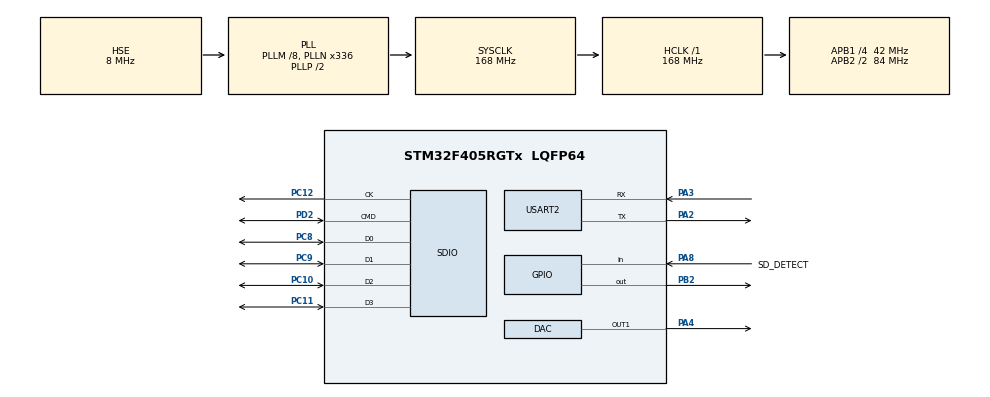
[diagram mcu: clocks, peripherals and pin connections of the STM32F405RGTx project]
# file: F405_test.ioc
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DAC.DAC_Trigger=DAC_TRIGGER_T6_TRGO
Dma.DAC1.0.Direction=DMA_MEMORY_TO_PERIPH
Dma.DAC1.0.FIFOMode=DMA_FIFOMODE_DISABLE
Dma.DAC1.0.Instance=DMA1_Stream5
Dma.DAC1.0.MemDataAlignment=DMA_MDATAALIGN_HALFWORD
Dma.DAC1.0.MemInc=DMA_MINC_ENABLE
Dma.DAC1.0.Mode=DMA_CIRCULAR
Dma.DAC1.0.PeriphDataAlignment=DMA_PDATAALIGN_HALFWORD
Dma.DAC1.0.PeriphInc=DMA_PINC_DISABLE
Dma.DAC1.0.Priority=DMA_PRIORITY_LOW
Dma.Request0=DAC1
FATFS.BSP.number=1
FATFS0.BSP.STBoard=false
FATFS0.BSP.api=Unknown
FATFS0.BSP.instance=PA8
FATFS0.BSP.ip=GPIO
FATFS0.BSP.mode=Input
FATFS0.BSP.name=Detect_SDIO
FATFS0.BSP.solution=PA8
Mcu.Family=STM32F4
Mcu.Name=STM32F405RGTx
Mcu.Package=LQFP64
NVIC.DMA1_Stream5_IRQn=true\:0\:0\:false\:false\:true\:false\:true\:true
NVIC.PriorityGroup=NVIC_PRIORITYGROUP_4
PA13.Mode=Serial_Wire
PA13.Signal=SYS_JTMS-SWDIO
PA14.Mode=Serial_Wire
PA14.Signal=SYS_JTCK-SWCLK
PA2.Mode=Asynchronous
PA2.Signal=USART2_TX
PA3.Mode=Asynchronous
PA3.Signal=USART2_RX
PA4.Signal=COMP_DAC1_group
PA8.GPIO_Label=SD_DETECT
PA8.GPIO_PuPd=GPIO_PULLUP
PA8.Signal=GPIO_Input
PB2.Signal=GPIO_Output
PC10.GPIO_PuPd=GPIO_PULLUP
PC10.Mode=SD_4_bits_Wide_bus
PC10.Signal=SDIO_D2
PC11.GPIO_PuPd=GPIO_PULLUP
PC11.Mode=SD_4_bits_Wide_bus
PC11.Signal=SDIO_D3
PC12.Mode=SD_4_bits_Wide_bus
PC12.Signal=SDIO_CK
PC8.GPIO_PuPd=GPIO_PULLUP
PC8.Mode=SD_4_bits_Wide_bus
PC8.Signal=SDIO_D0
PC9.GPIO_PuPd=GPIO_PULLUP
PC9.Mode=SD_4_bits_Wide_bus
PC9.Signal=SDIO_D1
PD2.GPIO_PuPd=GPIO_PULLUP
PD2.Mode=SD_4_bits_Wide_bus
PD2.Signal=SDIO_CMD
PH0-OSC_IN.Mode=HSE-External-Oscillator
PH0-OSC_IN.Signal=RCC_OSC_IN
PH1-OSC_OUT.Mode=HSE-External-Oscillator
PH1-OSC_OUT.Signal=RCC_OSC_OUT
ProjectManager.HeapSize=0x200
ProjectManager.StackSize=0x400
ProjectManager.TargetToolchain=STM32CubeIDE
RCC.48MHZClocksFreq_Value=48000000
RCC.AHBFreq_Value=168000000
RCC.APB1CLKDivider=RCC_HCLK_DIV4
RCC.APB1Freq_Value=42000000
RCC.APB1TimFreq_Value=84000000
RCC.APB2CLKDivider=RCC_HCLK_DIV2
RCC.APB2Freq_Value=84000000
RCC.APB2TimFreq_Value=168000000
RCC.CortexFreq_Value=168000000
RCC.HCLKFreq_Value=168000000
RCC.HSE_VALUE=8000000
RCC.HSI_VALUE=16000000
RCC.LSE_VALUE=32768
RCC.PLLM=8
RCC.PLLN=336
RCC.PLLQ=7
RCC.PLLSourceVirtual=RCC_PLLSOURCE_HSE
RCC.SYSCLKFreq_VALUE=168000000
RCC.SYSCLKSource=RCC_SYSCLKSOURCE_PLLCLK
RCC.VCOOutputFreq_Value=336000000
SDIO.ClockBypass=SDIO_CLOCK_BYPASS_DISABLE
SDIO.ClockDiv=4
SH.COMP_DAC1_group.0=DAC_OUT1,DAC_OUT1
TIM6.Period=1749
TIM6.TIM_MasterOutputTrigger=TIM_TRGO_UPDATE
USART2.VirtualMode=VM_ASYNC
VP_FATFS_VS_SDIO.Mode=SDIO
VP_TIM6_VS_ClockSourceINT.Mode=Enable_Timer
board=custom

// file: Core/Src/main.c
/* USER CODE BEGIN Header */
/**
  ******************************************************************************
  * @file           : main.c
  * @brief          : Main program body
  ******************************************************************************
  * @attention
  *
  * Copyright (c) 2026 STMicroelectronics.
  * All rights reserved.
  *
  * This software is licensed under terms that can be found in the LICENSE file
  * in the root directory of this software component.
  * If no LICENSE file comes with this software, it is provided AS-IS.
  *
  ******************************************************************************
  */
/* USER CODE END Header */
#include "main.h"
#include "fatfs.h"

/* USER CODE BEGIN Includes */

#include <math.h>
#include <stdio.h>

/* USER CODE END Includes */

DAC_HandleTypeDef hdac;
DMA_HandleTypeDef hdma_dac1;
SD_HandleTypeDef hsd;
TIM_HandleTypeDef htim6;
UART_HandleTypeDef huart2;
/* USER CODE BEGIN PV */

static uint16_t dac_samples[48];
volatile FRESULT sd_mount_result = FR_NOT_READY;
volatile uint8_t sd_mount_done = 0;

#define AUDIO_BUFFER_SAMPLES 1024
#define AUDIO_HALF_SAMPLES   (AUDIO_BUFFER_SAMPLES / 2)

static uint16_t audio_buffer[AUDIO_BUFFER_SAMPLES];
static FIL wav_file;
static volatile uint8_t audio_half_ready = 0;
static volatile uint8_t audio_running = 0;
static uint32_t wav_data_bytes_left = 0;

/* Odtwarzanie nagrania przechowywanego w RAM i CCM. */
static uint32_t audio_total_samples = 0;
static uint32_t audio_next_sample = 0;
static uint32_t audio_halves_left = 0;

/* Przechowywanie calego nagrania przed odtwarzaniem. */
#define WAV_RAM_SAMPLES  (48U * 1024U)
#define WAV_CCM_SAMPLES  (24U * 1024U)

static uint16_t wav_ram[WAV_RAM_SAMPLES];

static uint16_t wav_ccm[WAV_CCM_SAMPLES]
    __attribute__((section(".ccmram"), aligned(4)));

/* USER CODE END PV */

void SystemClock_Config(void);
static void MX_GPIO_Init(void);
static void MX_DMA_Init(void);
static void MX_DAC_Init(void);
static void MX_TIM6_Init(void);
static void MX_SDIO_SD_Init(void);
static void MX_USART2_UART_Init(void);

/* USER CODE BEGIN 0 */

int __io_putchar(int ch)
{
  uint8_t byte = (uint8_t)ch;
  if (HAL_UART_Transmit(&huart2, &byte, 1, 100) != HAL_OK)
  {
    return -1;
  }
  return ch;
}

static FRESULT audio_open_wav(const char *path)
{
    FRESULT res;
    UINT br;
    uint8_t header[44];

    res = f_open(&wav_file, path, FA_READ);
    if (res != FR_OK)
    {
        return res;
    }

    res = f_read(&wav_file, header, sizeof(header), &br);
    if (res != FR_OK || br != sizeof(header))
    {
        f_close(&wav_file);
        return FR_INVALID_OBJECT;
    }

    if (header[0] != 'R' || header[1] != 'I' ||
        header[2] != 'F' || header[3] != 'F' ||
        header[8] != 'W' || header[9] != 'A' ||
        header[10] != 'V' || header[11] != 'E')
    {
        f_close(&wav_file);
        return FR_INVALID_OBJECT;
    }

    uint16_t channels = (uint16_t)(header[22] | (header[23] << 8));
    uint32_t sample_rate = (uint32_t)header[24] |
                           ((uint32_t)header[25] << 8) |
                           ((uint32_t)header[26] << 16) |
                           ((uint32_t)header[27] << 24);
    uint16_t bits = (uint16_t)(header[34] | (header[35] << 8));

    printf("WAV: ch=%u rate=%lu bits=%u\r\n",
           (unsigned int)channels,
           (unsigned long)sample_rate,
           (unsigned int)bits);
    fflush(stdout);

    if (channels != 1 || bits != 16 || sample_rate != 44100)
    {
        f_close(&wav_file);
        return FR_INVALID_PARAMETER;
    }

    wav_data_bytes_left = (uint32_t)header[40] |
                          ((uint32_t)header[41] << 8) |
                          ((uint32_t)header[42] << 16) |
                          ((uint32_t)header[43] << 24);

    return FR_OK;
}

static FRESULT audio_load_to_ram(const char *path,
                                 uint32_t *samples_loaded)
{
    FRESULT res;
    uint32_t bytes_left;
    uint32_t sample_index = 0;

    *samples_loaded = 0;

    res = audio_open_wav(path);
    if (res != FR_OK)
    {
        return res;
    }

    bytes_left = wav_data_bytes_left;

    if ((bytes_left == 0U) ||
        ((bytes_left & 1U) != 0U) ||
        ((bytes_left / 2U) >
         (WAV_RAM_SAMPLES + WAV_CCM_SAMPLES)))
    {
        f_close(&wav_file);
        return FR_INVALID_PARAMETER;
    }

    while (bytes_left > 0U)
    {
        UINT br = 0;
        UINT bytes_to_read = (UINT)sizeof(audio_buffer);

        if (bytes_left < bytes_to_read)
        {
            bytes_to_read = (UINT)bytes_left;
        }

        res = f_read(&wav_file, audio_buffer,
                     bytes_to_read, &br);

        if ((res != FR_OK) || (br != bytes_to_read))
        {
            f_close(&wav_file);
            return (res != FR_OK) ? res : FR_INVALID_OBJECT;
        }

        for (uint32_t i = 0; i < br / 2U; i++)
        {
            int32_t pcm = (int16_t)audio_buffer[i];
            uint16_t dac = (uint16_t)((pcm + 32768) >> 4);

            if (sample_index < WAV_RAM_SAMPLES)
            {
                wav_ram[sample_index] = dac;
            }
            else
            {
                wav_ccm[sample_index - WAV_RAM_SAMPLES] = dac;
            }

            sample_index++;
        }

        bytes_left -= br;
    }

    res = f_close(&wav_file);
    if (res != FR_OK)
    {
        return res;
    }

    *samples_loaded = sample_index;
    return FR_OK;
}

static uint32_t audio_fill_from_ram(uint16_t *target,
                                    uint32_t first_sample,
                                    uint32_t total_samples,
                                    uint32_t target_samples)
{
    uint32_t copied = 0;

    while ((copied < target_samples) &&
           (first_sample < total_samples))
    {
        if (first_sample < WAV_RAM_SAMPLES)
        {
            target[copied] = wav_ram[first_sample];
        }
        else
        {
            target[copied] =
                wav_ccm[first_sample - WAV_RAM_SAMPLES];
        }

        first_sample++;
        copied++;
    }

    /* Niepelna koncowka bufora: dopelnienie cisza. */
    for (uint32_t i = copied; i < target_samples; i++)
    {
        target[i] = 2048U;
    }

    return copied;
}

static FRESULT audio_start(const char *path)
{
    FRESULT res;

    audio_running = 0;
    audio_half_ready = 0;
    audio_total_samples = 0;
    audio_next_sample = 0;
    audio_halves_left = 0;

    res = audio_load_to_ram(path, &audio_total_samples);
    if (res != FR_OK)
    {
        return res;
    }

    printf("WAV RAM: %lu samples, %lu bytes\r\n",
           (unsigned long)audio_total_samples,
           (unsigned long)(audio_total_samples * 2U));
    fflush(stdout);

    /* Przygotowanie calego bufora przed startem DMA. */
    audio_next_sample = audio_fill_from_ram(
        audio_buffer,
        0U,
        audio_total_samples,
        AUDIO_BUFFER_SAMPLES);

    /* Liczba polowek zawierajacych probki nagrania.
       Ostatnia moze byc dopelniona cisza. */
    audio_halves_left =
        (audio_total_samples + AUDIO_HALF_SAMPLES - 1U) /
        AUDIO_HALF_SAMPLES;

    __HAL_TIM_SET_AUTORELOAD(&htim6, 1904U);
    __HAL_TIM_SET_COUNTER(&htim6, 0U);

    if (HAL_DAC_Start_DMA(&hdac,
                          DAC_CHANNEL_1,
                          (uint32_t *)audio_buffer,
                          AUDIO_BUFFER_SAMPLES,
                          DAC_ALIGN_12B_R) != HAL_OK)
    {
        printf("Blad startu DAC DMA\r\n");
        return FR_INT_ERR;
    }

    audio_running = 1;

    if (HAL_TIM_Base_Start(&htim6) != HAL_OK)
    {
        audio_running = 0;
        HAL_DAC_Stop_DMA(&hdac, DAC_CHANNEL_1);
        printf("Blad startu TIM6\r\n");
        return FR_INT_ERR;
    }

    return FR_OK;
}

//static FRESULT audio_start(const char *path)
//{
//    uint32_t samples_loaded = 0;
//    FRESULT res;
//
//    res = audio_load_to_ram(path, &samples_loaded);
//    if (res != FR_OK)
//    {
//        return res;
//    }
//
//    printf("WAV RAM: %lu samples, %lu bytes\r\n",
//           (unsigned long)samples_loaded,
//           (unsigned long)(samples_loaded * 2U));
//    fflush(stdout);
//
//    /* Nadal test ciszy. Wystrzal przywrocimy osobno. */
//    for (uint32_t i = 0; i < AUDIO_BUFFER_SAMPLES; i++)
//    {
//        audio_buffer[i] = 2048U;
//    }
//
//    /* Licznik czasu obecnego testu bez odczytow SD. */
//    wav_data_bytes_left = samples_loaded * 2U;
//    audio_half_ready = 0;
//    audio_running = 0;
//
//    /* Ustawienie TIM6 przed uruchomieniem audio. */
//    __HAL_TIM_SET_AUTORELOAD(&htim6, 1904U);
//    __HAL_TIM_SET_COUNTER(&htim6, 0U);
//
//    if (HAL_DAC_Start_DMA(&hdac,
//                          DAC_CHANNEL_1,
//                          (uint32_t *)audio_buffer,
//                          AUDIO_BUFFER_SAMPLES,
//                          DAC_ALIGN_12B_R) != HAL_OK)
//    {
//        printf("Blad startu DAC DMA\r\n");
//        return FR_INT_ERR;
//    }
//
//    audio_running = 1;
//
//    if (HAL_TIM_Base_Start(&htim6) != HAL_OK)
//    {
//        audio_running = 0;
//        HAL_DAC_Stop_DMA(&hdac, DAC_CHANNEL_1);
//        printf("Blad startu TIM6\r\n");
//        return FR_INT_ERR;
//    }
//
//    return FR_OK;
//}

//static FRESULT audio_start(const char *path)
//{
//    FRESULT res;
//    UINT br;
//
//    res = audio_open_wav(path);
//    if (res != FR_OK)
//    {
//        return res;
//    }
//
//    res = f_read(&wav_file, audio_buffer,
//                 sizeof(audio_buffer), &br);
//    if (res != FR_OK || br != sizeof(audio_buffer))
////    res = f_read(&wav_file, audio_buffer,
////                 AUDIO_HALF_SAMPLES * 2, &br);
////    if (res != FR_OK || br != AUDIO_HALF_SAMPLES * 2)
//    {
//        f_close(&wav_file);
//        return FR_INVALID_OBJECT;
//    }
//
//    for (uint32_t i = 0; i < br / 2U; i++)
//    {
////        int32_t sample = (int16_t)audio_buffer[i];
////        audio_buffer[i] = (uint16_t)((sample + 32768) >> 4);
//    	  audio_buffer[i] = 2048U;  // TEST: cisza zamiast nagrania
//    }
//
//    wav_data_bytes_left -= br;
//
//
//
//
//    if (HAL_DAC_Start_DMA(&hdac,
//                          DAC_CHANNEL_1,
//                          (uint32_t *)audio_buffer,
//                          AUDIO_BUFFER_SAMPLES,
//                          DAC_ALIGN_12B_R) != HAL_OK)
//    {
//        f_close(&wav_file);
//        return FR_INVALID_NAME;   /* DAC Start_DMA failed */
//    }
//
//    if (HAL_TIM_Base_Start(&htim6) != HAL_OK)
//    {
//        HAL_DAC_Stop_DMA(&hdac, DAC_CHANNEL_1);
//        f_close(&wav_file);
//        return FR_INVALID_DRIVE;  /* TIM6 start failed */
//    }
//
//    audio_running = 1;
//    return FR_OK;
//}
/* USER CODE END 0 */

int main(void)
{

  /* MCU Configuration--------------------------------------------------------*/

  /* Reset of all peripherals, Initializes the Flash interface and the Systick. */
  HAL_Init();

  /* Configure the system clock */
  SystemClock_Config();

  /* Initialize all configured peripherals */
  MX_GPIO_Init();
  MX_DMA_Init();
  MX_DAC_Init();
  MX_TIM6_Init();
  MX_SDIO_SD_Init();
  MX_FATFS_Init();
  MX_USART2_UART_Init();
  /* USER CODE BEGIN 2 */

  printf("STM32F405 printf OK\r\n");
  fflush(stdout);

  printf("Przed f_mount\r\n");
  fflush(stdout);
  sd_mount_result = f_mount(&SDFatFS, SDPath, 1);
  sd_mount_done = 1;
  printf("SD mount: %d\r\n", (int)sd_mount_result);
  fflush(stdout);

  if (sd_mount_result == FR_OK)
  {
    FIL test_file;
    char text[128];
    UINT bytes_read = 0;
    FRESULT result;

    result = f_open(&test_file, "TEST.TXT", FA_READ);
    printf("TEST.TXT open: %d\r\n", (int)result);
    fflush(stdout);

    if (result == FR_OK)
    {
      result = f_read(&test_file, text, sizeof(text) - 1, &bytes_read);
      printf("TEST.TXT read: %d, bytes: %u\r\n",
             (int)result, (unsigned int)bytes_read);

      if (result == FR_OK)
      {
        text[bytes_read] = '\0';
        printf("Tresc: %s\r\n", text);
      }

      result = f_close(&test_file);
      printf("TEST.TXT close: %d\r\n", (int)result);
      fflush(stdout);
    }
  }

  FRESULT wav_result = audio_start("SHOT.WAV");
  htim6.Instance->ARR = 1904;
  printf("WAV start: %d\r\n", (int)wav_result);
  fflush(stdout);

  /* USER CODE END 2 */

  /* Infinite loop */
  while (1)
  {

    /* USER CODE BEGIN 3 */

	  if (audio_running)
	  {
	      uint8_t ready;

	      /* Pobranie i skasowanie flagi bez przerwania pomiedzy nimi. */
	      uint32_t primask = __get_PRIMASK();
	      __disable_irq();

	      ready = audio_half_ready;
	      audio_half_ready = 0;

	      __set_PRIMASK(primask);

	      if (ready != 0U)
	      {
	          /* Callback oznacza zakonczenie odtwarzania polowy. */
	          if (audio_halves_left > 0U)
	          {
	              audio_halves_left--;
	          }

	          if (audio_halves_left == 0U)
	          {
	              HAL_TIM_Base_Stop(&htim6);
	              HAL_DAC_Stop_DMA(&hdac, DAC_CHANNEL_1);
	              audio_running = 0;
	              audio_half_ready = 0;

	              printf("WAV done\r\n");
	              fflush(stdout);
	          }
	          else
	          {
	              uint16_t *target;

	              if (ready == 1U)
	              {
	                  target = &audio_buffer[0];
	              }
	              else
	              {
	                  target = &audio_buffer[AUDIO_HALF_SAMPLES];
	              }

	              uint32_t copied = audio_fill_from_ram(
	                  target,
	                  audio_next_sample,
	                  audio_total_samples,
	                  AUDIO_HALF_SAMPLES);

	              audio_next_sample += copied;
	          }
	      }
	  }

//	  if (audio_running)
//	  {
//	      if (audio_half_ready != 0)
//	      {
//	          uint16_t *target;
//	          uint32_t bytes_to_read;
//	          UINT br = 0;
//
//	          if (audio_half_ready == 1)
//	          {
//	              target = &audio_buffer[0];
//	          }
//	          else
//	          {
//	              target = &audio_buffer[AUDIO_HALF_SAMPLES];
//	          }
//
//	          audio_half_ready = 0;
//
//	          bytes_to_read = AUDIO_HALF_SAMPLES * 2;
//
//	          if (wav_data_bytes_left < bytes_to_read)
//	          {
//	              bytes_to_read = wav_data_bytes_left;
//	          }
//
//
//	          if (bytes_to_read > 0)
//	          {
//	              /* TEST: bez odczytu SD; zachowujemy odliczanie próbek. */
//	              br = (UINT)bytes_to_read;
//
//	              for (uint32_t i = 0; i < br / 2U; i++)
//	              {
//	                  target[i] = 2048U;
//	              }
//
//	              wav_data_bytes_left -= br;
//	          }
//
//
////	          if (bytes_to_read > 0)
////	          {
////
////	        	  if (f_read(&wav_file, target,
////	        	             bytes_to_read, &br) == FR_OK)
////	        	  {
////	        	      for (uint32_t i = 0; i < br / 2U; i++)
////	        	      {
//////	        	          int32_t sample = (int16_t)target[i];
//////	        	          target[i] = (uint16_t)((sample + 32768) >> 4);
////	        	    	  target[i] = 2048U;  // TEST: cisza zamiast nagrania
////	        	      }
////
////	        	      wav_data_bytes_left -= br;
////	        	  }
////
//////	              if (f_read(&wav_file, target,
//////	                         bytes_to_read, &br) == FR_OK)
//////	              {
//////	                  wav_data_bytes_left -= br;
//////	              }
////	          }
////
////
////	          //aż tutaj
//
//	          if (wav_data_bytes_left == 0)
//	          {
//	              HAL_TIM_Base_Stop(&htim6);
//	              HAL_DAC_Stop_DMA(&hdac, DAC_CHANNEL_1);
//	              f_close(&wav_file);
//	              audio_running = 0;
//
//	              printf("WAV done\r\n");
//	              fflush(stdout);
//	          }
//	      }
//	  }

	  if (sd_mount_done && sd_mount_result == FR_OK)
	  {
	    /* Montowanie udane: dioda świeci stale */
		HAL_GPIO_WritePin(GPIOB, GPIO_PIN_2, GPIO_PIN_SET);

//		HAL_GPIO_WritePin(GPIOB, GPIO_PIN_2, GPIO_PIN_SET);
//	    HAL_Delay(20);
	  }
	  else
	  {
	    /* Montowanie nieudane: dioda miga */
	    HAL_GPIO_TogglePin(GPIOB, GPIO_PIN_2);
	    HAL_Delay(200);
	  }

  }
  /* USER CODE END 3 */
}

void SystemClock_Config(void)
{
  RCC_OscInitTypeDef RCC_OscInitStruct = {0};
  RCC_ClkInitTypeDef RCC_ClkInitStruct = {0};

  /** Configure the main internal regulator output voltage
  */
  __HAL_RCC_PWR_CLK_ENABLE();
  __HAL_PWR_VOLTAGESCALING_CONFIG(PWR_REGULATOR_VOLTAGE_SCALE1);

  /** Initializes the RCC Oscillators according to the specified parameters
  * in the RCC_OscInitTypeDef structure.
  */
  RCC_OscInitStruct.OscillatorType = RCC_OSCILLATORTYPE_HSE;
  RCC_OscInitStruct.HSEState = RCC_HSE_ON;
  RCC_OscInitStruct.PLL.PLLState = RCC_PLL_ON;
  RCC_OscInitStruct.PLL.PLLSource = RCC_PLLSOURCE_HSE;
  RCC_OscInitStruct.PLL.PLLM = 8;
  RCC_OscInitStruct.PLL.PLLN = 336;
  RCC_OscInitStruct.PLL.PLLP = RCC_PLLP_DIV2;
  RCC_OscInitStruct.PLL.PLLQ = 7;
  if (HAL_RCC_OscConfig(&RCC_OscInitStruct) != HAL_OK)
  {
    Error_Handler();
  }

  /** Initializes the CPU, AHB and APB buses clocks
  */
  RCC_ClkInitStruct.ClockType = RCC_CLOCKTYPE_HCLK|RCC_CLOCKTYPE_SYSCLK
                              |RCC_CLOCKTYPE_PCLK1|RCC_CLOCKTYPE_PCLK2;
  RCC_ClkInitStruct.SYSCLKSource = RCC_SYSCLKSOURCE_PLLCLK;
  RCC_ClkInitStruct.AHBCLKDivider = RCC_SYSCLK_DIV1;
  RCC_ClkInitStruct.APB1CLKDivider = RCC_HCLK_DIV4;
  RCC_ClkInitStruct.APB2CLKDivider = RCC_HCLK_DIV2;

  if (HAL_RCC_ClockConfig(&RCC_ClkInitStruct, FLASH_LATENCY_5) != HAL_OK)
  {
    Error_Handler();
  }
}

static void MX_DAC_Init(void)
{

  DAC_ChannelConfTypeDef sConfig = {0};

  /** DAC Initialization
  */
  hdac.Instance = DAC;
  if (HAL_DAC_Init(&hdac) != HAL_OK)
  {
    Error_Handler();
  }

  /** DAC channel OUT1 config
  */
  sConfig.DAC_Trigger = DAC_TRIGGER_T6_TRGO;
  sConfig.DAC_OutputBuffer = DAC_OUTPUTBUFFER_ENABLE;
  if (HAL_DAC_ConfigChannel(&hdac, &sConfig, DAC_CHANNEL_1) != HAL_OK)
  {
    Error_Handler();
  }

}

static void MX_SDIO_SD_Init(void)
{

  hsd.Instance = SDIO;
  hsd.Init.ClockEdge = SDIO_CLOCK_EDGE_RISING;
  hsd.Init.ClockBypass = SDIO_CLOCK_BYPASS_DISABLE;
  hsd.Init.ClockPowerSave = SDIO_CLOCK_POWER_SAVE_DISABLE;
  hsd.Init.BusWide = SDIO_BUS_WIDE_1B;
  hsd.Init.HardwareFlowControl = SDIO_HARDWARE_FLOW_CONTROL_DISABLE;
  hsd.Init.ClockDiv = 4;

}

static void MX_TIM6_Init(void)
{

  TIM_MasterConfigTypeDef sMasterConfig = {0};

  htim6.Instance = TIM6;
  htim6.Init.Prescaler = 0;
  htim6.Init.CounterMode = TIM_COUNTERMODE_UP;
  htim6.Init.Period = 1749;
  htim6.Init.AutoReloadPreload = TIM_AUTORELOAD_PRELOAD_DISABLE;
  if (HAL_TIM_Base_Init(&htim6) != HAL_OK)
  {
    Error_Handler();
  }
  sMasterConfig.MasterOutputTrigger = TIM_TRGO_UPDATE;
  sMasterConfig.MasterSlaveMode = TIM_MASTERSLAVEMODE_DISABLE;
  if (HAL_TIMEx_MasterConfigSynchronization(&htim6, &sMasterConfig) != HAL_OK)
  {
    Error_Handler();
  }

}

static void MX_USART2_UART_Init(void)
{

  huart2.Instance = USART2;
  huart2.Init.BaudRate = 115200;
  huart2.Init.WordLength = UART_WORDLENGTH_8B;
  huart2.Init.StopBits = UART_STOPBITS_1;
  huart2.Init.Parity = UART_PARITY_NONE;
  huart2.Init.Mode = UART_MODE_TX_RX;
  huart2.Init.HwFlowCtl = UART_HWCONTROL_NONE;
  huart2.Init.OverSampling = UART_OVERSAMPLING_16;
  if (HAL_UART_Init(&huart2) != HAL_OK)
  {
    Error_Handler();
  }

}

static void MX_DMA_Init(void)
{

  /* DMA controller clock enable */
  __HAL_RCC_DMA1_CLK_ENABLE();

  /* DMA interrupt init */
  /* DMA1_Stream5_IRQn interrupt configuration */
  HAL_NVIC_SetPriority(DMA1_Stream5_IRQn, 0, 0);
  HAL_NVIC_EnableIRQ(DMA1_Stream5_IRQn);

}

static void MX_GPIO_Init(void)
{
  GPIO_InitTypeDef GPIO_InitStruct = {0};

  /* GPIO Ports Clock Enable */
  __HAL_RCC_GPIOH_CLK_ENABLE();
  __HAL_RCC_GPIOA_CLK_ENABLE();
  __HAL_RCC_GPIOB_CLK_ENABLE();
  __HAL_RCC_GPIOC_CLK_ENABLE();
  __HAL_RCC_GPIOD_CLK_ENABLE();

  /*Configure GPIO pin Output Level */
  HAL_GPIO_WritePin(GPIOB, GPIO_PIN_2, GPIO_PIN_RESET);

  /*Configure GPIO pin : PB2 */
  GPIO_InitStruct.Pin = GPIO_PIN_2;
  GPIO_InitStruct.Mode = GPIO_MODE_OUTPUT_PP;
  GPIO_InitStruct.Pull = GPIO_NOPULL;
  GPIO_InitStruct.Speed = GPIO_SPEED_FREQ_LOW;
  HAL_GPIO_Init(GPIOB, &GPIO_InitStruct);

  /*Configure GPIO pin : SD_DETECT_Pin */
  GPIO_InitStruct.Pin = SD_DETECT_Pin;
  GPIO_InitStruct.Mode = GPIO_MODE_INPUT;
  GPIO_InitStruct.Pull = GPIO_PULLUP;
  HAL_GPIO_Init(SD_DETECT_GPIO_Port, &GPIO_InitStruct);

}

/* USER CODE BEGIN 4 */
void HAL_DAC_ConvHalfCpltCallbackCh1(DAC_HandleTypeDef *hdac)
{
    if (hdac->Instance == DAC)
    {
        audio_half_ready = 1;
    }
}

void HAL_DAC_ConvCpltCallbackCh1(DAC_HandleTypeDef *hdac)
{
    if (hdac->Instance == DAC)
    {
        audio_half_ready = 2;
    }
}
/* USER CODE END 4 */

void Error_Handler(void)
{
  __disable_irq();
  while (1)
  {
  }
}
